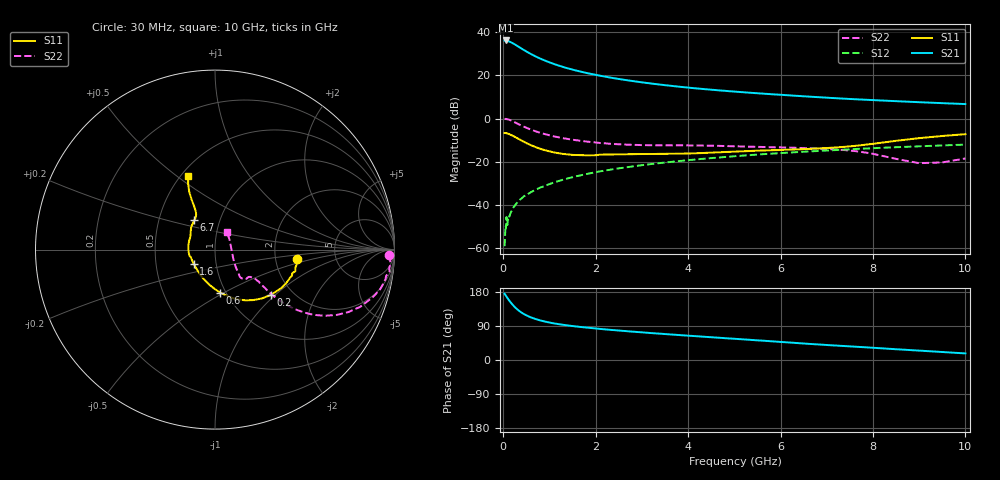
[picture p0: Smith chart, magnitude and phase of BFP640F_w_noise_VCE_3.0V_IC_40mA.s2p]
! Infineon Technologies  Discrete & RF Semiconductors
! BFP640F
! VCE =  3.0 V,  IC =  40 mA
! Common Emitter S-Parameters:  Apr 2013
# GHz  S  MA  R  50
!  f  S11  S21  S12  S22
! GHz  MAG  ANG  MAG  ANG  MAG  ANG  MAG  ANG
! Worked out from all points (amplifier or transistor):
!   99 points, 30 MHz to 10 GHz, reference 50 ohm
!   highest |S21| = 36.2 dB at 50 MHz (marker M1)
!   |S21| within 3 dB of that: start of sweep to 338.8 MHz
!   unconditionally stable (mu >= 1): 1.609 GHz to end of sweep
!   at 350 MHz: K = 0.56, MSG = 35.4 dB, |S12| = -37.8 dB
!   at 3.5 GHz: K = 1.06, MAG = 16.4 dB, |S12| = -20.4 dB
!   at 10 GHz: K = 1.04, MAG = 8.2 dB, |S12| = -12.1 dB
!   lowest NFmin = 1.22 dB at 450 MHz
!   S11 on the Smith chart (normalised r, x): 30 MHz: 2.67, -0.36; 200 MHz: 1.56, -0.94; 600 MHz: 0.94, -0.48; 1.6 GHz: 0.78, -0.13; 6.7 GHz: 0.76, +0.26; 10 GHz: 0.55, +0.55
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0.03  0.4625 -6.5  64.09 174.9  0.0011 96.9  0.9721 -1.8
0.05  0.4623 -10.7  64.54 171.3  0.0033 87.4  0.9816 -4.6
0.08  0.4499 -16.9  63.72 165.6  0.004 65.8  0.9648 -8.7
0.12  0.4386 -25.0  61.62 158.6  0.0047 81.5  0.9449 -13.7
0.15  0.4258 -30.4  59.79 153.7  0.0061 81.0  0.9176 -16.8
0.2  0.4014 -38.9  56.23 146.2  0.0081 78.2  0.8699 -21.5
0.25  0.3768 -46.3  52.38 139.7  0.0096 77.8  0.8192 -25.2
0.3  0.3522 -53.0  48.59 134.0  0.0112 77.1  0.77 -28.2
0.4  0.3071 -64.7  41.62 124.8  0.0141 75.2  0.6816 -32.5
0.5  0.2698 -74.4  35.88 117.9  0.0167 75.6  0.6111 -35.1
0.6  0.2413 -83.2  31.27 112.4  0.0197 74.9  0.5535 -36.8
0.8  0.1994 -98.6  24.54 104.5  0.0251 74.6  0.4683 -38.2
1  0.1734 -112.2  20.05 98.9  0.0302 74.0  0.4091 -38.4
1.3  0.1509 -130.6  15.63 92.8  0.0383 73.2  0.3496 -37.5
1.6  0.1425 -146.1  12.79 88.2  0.0464 72.4  0.3122 -36.7
1.7  0.1415 -150.7  12.06 86.8  0.0489 72.3  0.3016 -36.2
2.4  0.1473 -174.4  8.603 78.8  0.0675 68.9  0.2567 -37.2
3.4  0.152 162.8  6.11 69.4  0.0929 63.9  0.2393 -40.8
5.1  0.1727 141.2  4.139 55.2  0.1361 54.7  0.2262 -46.3
6.7  0.1998 125.3  3.182 41.9  0.1743 45.4  0.2028 -47.4
8.5  0.3046 115.1  2.527 28.4  0.2165 34.9  0.1161 -27.9
10  0.434 110.1  2.164 17.4  0.2487 26.1  0.1188 55.7
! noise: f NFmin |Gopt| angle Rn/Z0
0.45  1.22  0.25  -172  0.08
0.9  1.22  0.26  -169  0.08
1.5  1.25  0.28  -162  0.09
1.9  1.28  0.29  -155  0.1
2.4  1.3  0.3  -146  0.1
3.5  1.38  0.31  -135  0.12
5.5  1.59  0.33  -117  0.16
10  2.07  0.48  -81  0.56
